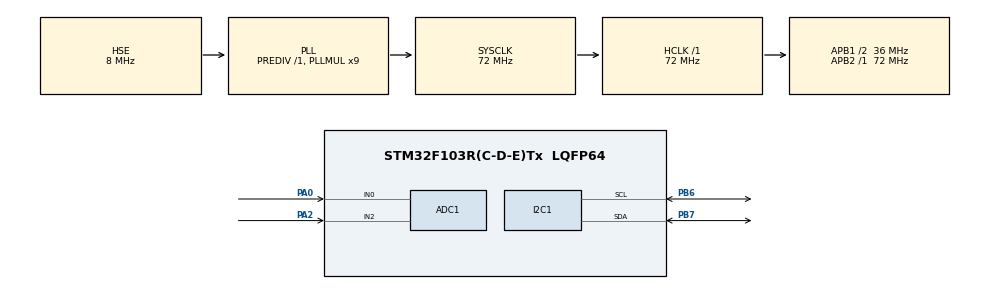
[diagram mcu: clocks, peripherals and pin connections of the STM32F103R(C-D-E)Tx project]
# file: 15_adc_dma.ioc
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ADC1.Channel-0\#ChannelRegularConversion=ADC_CHANNEL_0
ADC1.Channel-1\#ChannelRegularConversion=ADC_CHANNEL_2
ADC1.ContinuousConvMode=ENABLE
ADC1.ExternalTrigConv=ADC_SOFTWARE_START
ADC1.NbrOfConversion=2
ADC1.NbrOfConversionFlag=1
ADC1.Rank-0\#ChannelRegularConversion=1
ADC1.Rank-1\#ChannelRegularConversion=2
ADC1.SamplingTime-0\#ChannelRegularConversion=ADC_SAMPLETIME_1CYCLE_5
ADC1.SamplingTime-1\#ChannelRegularConversion=ADC_SAMPLETIME_1CYCLE_5
ADC1.master=1
Dma.ADC1.0.Direction=DMA_PERIPH_TO_MEMORY
Dma.ADC1.0.Instance=DMA1_Channel1
Dma.ADC1.0.MemDataAlignment=DMA_MDATAALIGN_HALFWORD
Dma.ADC1.0.MemInc=DMA_MINC_ENABLE
Dma.ADC1.0.Mode=DMA_CIRCULAR
Dma.ADC1.0.PeriphDataAlignment=DMA_PDATAALIGN_HALFWORD
Dma.ADC1.0.PeriphInc=DMA_PINC_DISABLE
Dma.ADC1.0.Priority=DMA_PRIORITY_MEDIUM
Dma.Request0=ADC1
FREERTOS.Mutexes01=adc_Mutex,Dynamic,NULL
FREERTOS.Tasks01=ADC_DMA,24,256,ADC_DMA_Entry,Default,NULL,Dynamic,NULL,NULL
I2C1.I2C_Mode=I2C_Fast
Mcu.Family=STM32F1
Mcu.Name=STM32F103R(C-D-E)Tx
Mcu.Package=LQFP64
NVIC.DMA1_Channel1_IRQn=true\:5\:0\:false\:false\:true\:true\:false\:true\:true
NVIC.PriorityGroup=NVIC_PRIORITYGROUP_4
NVIC.TIM7_IRQn=true\:15\:0\:false\:false\:true\:false\:false\:true\:true
NVIC.TimeBase=TIM7_IRQn
NVIC.TimeBaseIP=TIM7
PA0-WKUP.Signal=ADCx_IN0
PA13.Mode=Serial_Wire
PA13.Signal=SYS_JTMS-SWDIO
PA14.Mode=Serial_Wire
PA14.Signal=SYS_JTCK-SWCLK
PA2.Signal=ADCx_IN2
PB6.Mode=I2C
PB6.Signal=I2C1_SCL
PB7.Mode=I2C
PB7.Signal=I2C1_SDA
PC14-OSC32_IN.Mode=LSE-External-Oscillator
PC14-OSC32_IN.Signal=RCC_OSC32_IN
PC15-OSC32_OUT.Mode=LSE-External-Oscillator
PC15-OSC32_OUT.Signal=RCC_OSC32_OUT
PD0-OSC_IN.Mode=HSE-External-Oscillator
PD0-OSC_IN.Signal=RCC_OSC_IN
PD1-OSC_OUT.Mode=HSE-External-Oscillator
PD1-OSC_OUT.Signal=RCC_OSC_OUT
ProjectManager.HeapSize=0x200
ProjectManager.StackSize=0x400
ProjectManager.TargetToolchain=MDK-ARM V5.32
RCC.ADCPresc=RCC_ADCPCLK2_DIV6
RCC.AHBFreq_Value=72000000
RCC.APB1CLKDivider=RCC_HCLK_DIV2
RCC.APB1Freq_Value=36000000
RCC.APB1TimFreq_Value=72000000
RCC.APB2Freq_Value=72000000
RCC.APB2TimFreq_Value=72000000
RCC.HCLKFreq_Value=72000000
RCC.PLLMUL=RCC_PLL_MUL9
RCC.PLLSourceVirtual=RCC_PLLSOURCE_HSE
RCC.SYSCLKFreq_VALUE=72000000
RCC.SYSCLKSource=RCC_SYSCLKSOURCE_PLLCLK
RCC.USBFreq_Value=72000000
SH.ADCx_IN0.0=ADC1_IN0,IN0
SH.ADCx_IN2.0=ADC1_IN2,IN2
VP_FREERTOS_VS_CMSIS_V2.Mode=CMSIS_V2
VP_SYS_VS_tim7.Mode=TIM7
board=custom

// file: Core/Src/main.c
/* USER CODE BEGIN Header */
/**
  ******************************************************************************
  * @file           : main.c
  * @brief          : Main program body
  ******************************************************************************
  * @attention
  *
  * Copyright (c) 2024 STMicroelectronics.
  * All rights reserved.
  *
  * This software is licensed under terms that can be found in the LICENSE file
  * in the root directory of this software component.
  * If no LICENSE file comes with this software, it is provided AS-IS.
  *
  ******************************************************************************
  */
/* USER CODE END Header */
#include "main.h"
#include "cmsis_os.h"
#include "adc.h"
#include "dma.h"
#include "i2c.h"
#include "gpio.h"

void SystemClock_Config(void);
void MX_FREERTOS_Init(void);

int main(void)
{

  /* MCU Configuration--------------------------------------------------------*/

  /* Reset of all peripherals, Initializes the Flash interface and the Systick. */
  HAL_Init();

  /* Configure the system clock */
  SystemClock_Config();

  /* Initialize all configured peripherals */
  MX_GPIO_Init();
  MX_DMA_Init();
  MX_ADC1_Init();
  MX_I2C1_Init();

  /* Init scheduler */
  osKernelInitialize();

  /* Call init function for freertos objects (in freertos.c) */
  MX_FREERTOS_Init();

  /* Start scheduler */
  osKernelStart();

  /* We should never get here as control is now taken by the scheduler */
  /* Infinite loop */
  while (1)
  {

  }
}

void SystemClock_Config(void)
{
  RCC_OscInitTypeDef RCC_OscInitStruct = {0};
  RCC_ClkInitTypeDef RCC_ClkInitStruct = {0};
  RCC_PeriphCLKInitTypeDef PeriphClkInit = {0};

  /** Initializes the RCC Oscillators according to the specified parameters
  * in the RCC_OscInitTypeDef structure.
  */
  RCC_OscInitStruct.OscillatorType = RCC_OSCILLATORTYPE_HSE;
  RCC_OscInitStruct.HSEState = RCC_HSE_ON;
  RCC_OscInitStruct.HSEPredivValue = RCC_HSE_PREDIV_DIV1;
  RCC_OscInitStruct.HSIState = RCC_HSI_ON;
  RCC_OscInitStruct.PLL.PLLState = RCC_PLL_ON;
  RCC_OscInitStruct.PLL.PLLSource = RCC_PLLSOURCE_HSE;
  RCC_OscInitStruct.PLL.PLLMUL = RCC_PLL_MUL9;
  if (HAL_RCC_OscConfig(&RCC_OscInitStruct) != HAL_OK)
  {
    Error_Handler();
  }

  /** Initializes the CPU, AHB and APB buses clocks
  */
  RCC_ClkInitStruct.ClockType = RCC_CLOCKTYPE_HCLK|RCC_CLOCKTYPE_SYSCLK
                              |RCC_CLOCKTYPE_PCLK1|RCC_CLOCKTYPE_PCLK2;
  RCC_ClkInitStruct.SYSCLKSource = RCC_SYSCLKSOURCE_PLLCLK;
  RCC_ClkInitStruct.AHBCLKDivider = RCC_SYSCLK_DIV1;
  RCC_ClkInitStruct.APB1CLKDivider = RCC_HCLK_DIV2;
  RCC_ClkInitStruct.APB2CLKDivider = RCC_HCLK_DIV1;

  if (HAL_RCC_ClockConfig(&RCC_ClkInitStruct, FLASH_LATENCY_2) != HAL_OK)
  {
    Error_Handler();
  }
  PeriphClkInit.PeriphClockSelection = RCC_PERIPHCLK_ADC;
  PeriphClkInit.AdcClockSelection = RCC_ADCPCLK2_DIV6;
  if (HAL_RCCEx_PeriphCLKConfig(&PeriphClkInit) != HAL_OK)
  {
    Error_Handler();
  }
}

void HAL_TIM_PeriodElapsedCallback(TIM_HandleTypeDef *htim)
{
  if (htim->Instance == TIM7) {
    HAL_IncTick();
  }
}

void Error_Handler(void)
{
  __disable_irq();
  while (1)
  {
  }
}

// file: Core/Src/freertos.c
/* USER CODE BEGIN Header */
/**
  ******************************************************************************
  * File Name          : freertos.c
  * Description        : Code for freertos applications
  ******************************************************************************
  * @attention
  *
  * Copyright (c) 2024 STMicroelectronics.
  * All rights reserved.
  *
  * This software is licensed under terms that can be found in the LICENSE file
  * in the root directory of this software component.
  * If no LICENSE file comes with this software, it is provided AS-IS.
  *
  ******************************************************************************
  */
/* USER CODE END Header */

#include "FreeRTOS.h"
#include "task.h"
#include "main.h"
#include "cmsis_os.h"

/* USER CODE BEGIN Includes */
#include "oled.h"
#include "adc.h"
/* USER CODE END Includes */

/* USER CODE BEGIN Variables */
uint16_t AD_Value[2];
float Voltage[2];
/* USER CODE END Variables */
/* Definitions for ADC_DMA */
osThreadId_t ADC_DMAHandle;
const osThreadAttr_t ADC_DMA_attributes = {
  .name = "ADC_DMA",
  .stack_size = 256 * 4,
  .priority = (osPriority_t) osPriorityNormal,
};
/* Definitions for adc_Mutex */
osMutexId_t adc_MutexHandle;
const osMutexAttr_t adc_Mutex_attributes = {
  .name = "adc_Mutex"
};

void ADC_DMA_Entry(void *argument);

void MX_FREERTOS_Init(void); /* (MISRA C 2004 rule 8.1) */

void MX_FREERTOS_Init(void) {
  /* Create the mutex(es) */
  /* creation of adc_Mutex */
  adc_MutexHandle = osMutexNew(&adc_Mutex_attributes);

  /* Create the thread(s) */
  /* creation of ADC_DMA */
  ADC_DMAHandle = osThreadNew(ADC_DMA_Entry, NULL, &ADC_DMA_attributes);

}

void ADC_DMA_Entry(void *argument)
{
  /* USER CODE BEGIN ADC_DMA_Entry */
  OLED_Init();
  OLED_Display_On();
  OLED_Clear();
  OLED_ShowString(0,0,"ADValue1:",16,0);
  OLED_ShowString(0,2,"Vloatge1:",16,0);
  OLED_ShowString(0,4,"ADValue2:",16,0);
  OLED_ShowString(0,6,"Vloatge2:",16,0);

  HAL_ADC_Start_DMA(&hadc1,(uint32_t*)AD_Value,sizeof(AD_Value));
  /* Infinite loop */
  for(;;)
  {
    osMutexAcquire(adc_MutexHandle,osWaitForever);
    OLED_ShowNum(70,0,AD_Value[0],4,16,0);
    OLED_Showdecimal(70,2,Voltage[0],1,2,16,0);
    OLED_ShowNum(70,4,AD_Value[1],4,16,0);
    OLED_Showdecimal(70,6,Voltage[1],1,2,16,0);
    osMutexRelease(adc_MutexHandle);
    //转换完后再重新打开，否则会跑飞
    //HAL_ADC_Start_DMA(&hadc1,(uint32_t*)AD_Value,sizeof(AD_Value));
    osDelay(10);
  }
  /* USER CODE END ADC_DMA_Entry */
}

/* USER CODE BEGIN Application */
void HAL_ADC_ConvCpltCallback(ADC_HandleTypeDef* hadc)
{
  if(hadc->Instance==ADC1)
  {
    //HAL_ADC_Stop_DMA(&hadc1);
    osMutexAcquire(adc_MutexHandle,3);
    Voltage[0] = (float)AD_Value[0]*3.3/4096;
    Voltage[1] = (float)AD_Value[1]*3.3/4096;
    osMutexRelease(adc_MutexHandle);
  }
}
/* USER CODE END Application */
